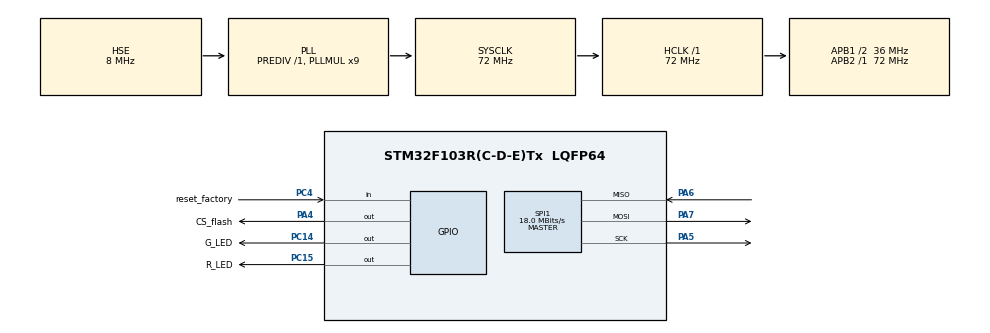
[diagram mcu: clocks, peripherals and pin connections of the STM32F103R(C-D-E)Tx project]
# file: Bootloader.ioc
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Mcu.Family=STM32F1
Mcu.Name=STM32F103R(C-D-E)Tx
Mcu.Package=LQFP64
NVIC.PriorityGroup=NVIC_PRIORITYGROUP_4
PA4.GPIO_Label=CS_flash
PA4.Signal=GPIO_Output
PA5.Mode=Full_Duplex_Master
PA5.Signal=SPI1_SCK
PA6.Mode=Full_Duplex_Master
PA6.Signal=SPI1_MISO
PA7.Mode=Full_Duplex_Master
PA7.Signal=SPI1_MOSI
PC14-OSC32_IN.GPIO_Label=G_LED
PC14-OSC32_IN.Signal=GPIO_Output
PC15-OSC32_OUT.GPIO_Label=R_LED
PC15-OSC32_OUT.Signal=GPIO_Output
PC4.GPIO_Label=reset_factory
PC4.GPIO_PuPd=GPIO_PULLUP
PC4.Signal=GPIO_Input
PD0-OSC_IN.Mode=HSE-External-Oscillator
PD0-OSC_IN.Signal=RCC_OSC_IN
PD1-OSC_OUT.Mode=HSE-External-Oscillator
PD1-OSC_OUT.Signal=RCC_OSC_OUT
ProjectManager.HeapSize=0x200
ProjectManager.StackSize=0x400
ProjectManager.TargetToolchain=STM32CubeIDE
RCC.AHBFreq_Value=72000000
RCC.APB1CLKDivider=RCC_HCLK_DIV2
RCC.APB1Freq_Value=36000000
RCC.APB1TimFreq_Value=72000000
RCC.APB2Freq_Value=72000000
RCC.APB2TimFreq_Value=72000000
RCC.HCLKFreq_Value=72000000
RCC.PLLMUL=RCC_PLL_MUL9
RCC.PLLSourceVirtual=RCC_PLLSOURCE_HSE
RCC.SYSCLKFreq_VALUE=72000000
RCC.SYSCLKSource=RCC_SYSCLKSOURCE_PLLCLK
RCC.USBFreq_Value=72000000
SPI1.BaudRatePrescaler=SPI_BAUDRATEPRESCALER_4
SPI1.CalculateBaudRate=18.0 MBits/s
SPI1.DataSize=SPI_DATASIZE_8BIT
SPI1.Direction=SPI_DIRECTION_2LINES
SPI1.Mode=SPI_MODE_MASTER
SPI1.VirtualType=VM_MASTER
board=custom

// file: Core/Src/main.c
/* USER CODE BEGIN Header */
/**
 ******************************************************************************
 * @file           : main.c
 * @brief          : Main program body
 ******************************************************************************
 * @attention
 *
 * Copyright (c) 2023 STMicroelectronics.
 * All rights reserved.
 *
 * This software is licensed under terms that can be found in the LICENSE file
 * in the root directory of this software component.
 * If no LICENSE file comes with this software, it is provided AS-IS.
 *
 ******************************************************************************
 */
/* USER CODE END Header */
#include "main.h"
#include "spi.h"
#include "gpio.h"

/* USER CODE BEGIN Includes */
#include "stm32f1xx_hal.h"
#include "stm32f1xx_hal_flash.h"
/* USER CODE END Includes */

/* USER CODE BEGIN PD */
#define READ_INS 0x03U
#define READID_INS 0x90U
#define WRITEEN_INS 0x06U
#define WRITEDS_INS 0x04U
#define WRITEPAGE_INS 0x02U

#define UPDATE_FLAG_ADDR 0xFF000U
#define UPDATE_ADDR 0x100000U
#define SETTINGS_ADDR 0x1000U
#define FLASH_ADDR 0x8003B00U

/* USER CODE END PD */

void SystemClock_Config(void);

/* USER CODE BEGIN 0 */
void set_cs_flash(void) {
	HAL_GPIO_WritePin(GPIOA, CS_flash_Pin, GPIO_PIN_RESET); //CS LOW
}

void deset_cs_flash(void) {
	HAL_GPIO_WritePin(GPIOA, CS_flash_Pin, GPIO_PIN_SET); //CS HIGH
}

void spi_r(uint8_t *data, uint16_t size) {
	HAL_SPI_Receive(&hspi1, data, size, HAL_MAX_DELAY);
}

void spi_w(uint8_t *b, uint16_t size) {
	HAL_SPI_Transmit(&hspi1, b, size, HAL_MAX_DELAY);
}
void writeEnable_eflash() {
	uint8_t frm = WRITEEN_INS;
	set_cs_flash();
	spi_w(&frm, 1);
	deset_cs_flash();
}
uint8_t check_eflash_status() {
	set_cs_flash();
	uint8_t frm = 0x05;
	spi_w(&frm, 1);
	uint8_t status = 0;
	spi_r(&status, 1);
	deset_cs_flash();
	return (status & 0x01);
}
void waitforeflash() {
	int trys = 0;
	uint8_t stats = check_eflash_status();
	while (stats != 0) {
		HAL_Delay(1);
		stats = check_eflash_status();

		if (trys > 100) {
			writeEnable_eflash();
			trys = 0;
		}
		trys++;
	}
}
void read_eflash(uint8_t *data, uint32_t *address, uint8_t ins, uint16_t size) {
	uint8_t *addr16 = ((uint8_t*) address) + 2;
	uint8_t *addr8 = ((uint8_t*) address) + 1;
	uint8_t *addr0 = ((uint8_t*) address);
	uint8_t frm[4] = { ins, *addr16, *addr8, *addr0 };
	set_cs_flash();
	spi_w((uint8_t*) &frm, 4);
	spi_r(data, size);
	deset_cs_flash();
}
void Erase_eflash() {
	waitforeflash();
	writeEnable_eflash();
	uint8_t frm = 0xc7;
	set_cs_flash();
	spi_w(&frm, 1);
	deset_cs_flash();
}
void writeDisable_eflash() {
	uint8_t frm[1] = { WRITEDS_INS };
	waitforeflash();
	set_cs_flash();
	spi_w((uint8_t*) &frm, 1);
	deset_cs_flash();
}

void write_eflash(uint8_t *data, uint32_t *address) {
	uint8_t *addr16 = ((uint8_t*) address) + 2;
	uint8_t *addr8 = ((uint8_t*) address) + 1;
	uint8_t *addr0 = ((uint8_t*) address);
	uint8_t buff[260];
	buff[0] = WRITEPAGE_INS;
	buff[1] = *addr16;
	buff[2] = *addr8;
	buff[3] = *addr0;
	for (int i = 0; i < 256; i++)
		buff[i + 4] = *(data + i);
	waitforeflash();
	writeEnable_eflash();
	set_cs_flash();
	spi_w((uint8_t*) &buff, 260);
	deset_cs_flash();
}
void Erase_eflash_sectors(uint32_t *from_address, uint32_t *to_address) {
	uint32_t address = *from_address;
	while (1) {
		uint8_t *addr16 = ((uint8_t*) &address) + 2;
		uint8_t *addr8 = ((uint8_t*) &address) + 1;
		uint8_t *addr0 = ((uint8_t*) &address);
		uint8_t frm[4] = { 0x20, *addr16, *addr8, *addr0 };
		writeEnable_eflash();
		set_cs_flash();
		spi_w((uint8_t*) &frm, 4);
		deset_cs_flash();
		waitforeflash();
		if ((*to_address <= (address + 4096)))
			break;
		address += 4096;
	}
}
uint8_t check_eflash() {
	uint8_t data[2] = { 0, 0 };
	uint32_t addr = 0x0;
	read_eflash((uint8_t*) &data, &addr, (uint8_t) READID_INS, 2);
	if (data[0] == 0xef)
		return 1;
	else
		return 0;
}
//erase address
uint32_t erase(uint32_t *addr, uint8_t np) {
	FLASH_EraseInitTypeDef eraseInit;
	eraseInit.TypeErase = FLASH_TYPEERASE_PAGES;
	eraseInit.PageAddress = *addr;
	eraseInit.NbPages = np;
	uint32_t sectorError = 0;
	HAL_FLASHEx_Erase(&eraseInit, &sectorError);
	return sectorError;
}
//flashing
void flashPage(uint32_t *addr, uint8_t *data) {
	// Write the data into the Flash memory
	for (int i = 0; i < 256; i += 2) {
		uint16_t halfword = (*(data + i + 1) << 8) | *(data + i);
		HAL_FLASH_Program(FLASH_TYPEPROGRAM_HALFWORD, *addr + i, halfword);
	}
}

uint8_t checkUpdateFlags() {
	uint8_t data = 0;
	uint32_t addr = UPDATE_FLAG_ADDR;
	uint8_t flag = READ_INS;
	read_eflash((uint8_t*) &data, &addr, flag, 1);
	return data;
}
uint8_t EraseUpdateFlags() {
	uint32_t addr = UPDATE_FLAG_ADDR;
	uint32_t toaddr = UPDATE_FLAG_ADDR + 50;
	Erase_eflash_sectors(&addr, &toaddr);
	return 0;
}
//Reset factory
void ResetFactory(){
	char f = 0;
	HAL_GPIO_WritePin(R_LED_GPIO_Port, R_LED_Pin, GPIO_PIN_RESET);
	while (HAL_GPIO_ReadPin(reset_factory_GPIO_Port, reset_factory_Pin)) {
		HAL_GPIO_WritePin(G_LED_GPIO_Port, G_LED_Pin, GPIO_PIN_RESET);
			HAL_Delay(200);
		HAL_GPIO_WritePin(G_LED_GPIO_Port, G_LED_Pin, GPIO_PIN_SET);
			HAL_Delay(200);
			f++;
			if(f >= 25){
				uint32_t addr = SETTINGS_ADDR;
				uint32_t toaddr = SETTINGS_ADDR + 3000;
				Erase_eflash_sectors(&addr, &toaddr);
				for(int i =0; i<25;i++){
				HAL_GPIO_WritePin(G_LED_GPIO_Port, G_LED_Pin, GPIO_PIN_SET);
				HAL_Delay(20);
				HAL_GPIO_WritePin(G_LED_GPIO_Port, G_LED_Pin, GPIO_PIN_RESET);
				HAL_Delay(50);
				}
				break;

			}
		}
	HAL_GPIO_WritePin(G_LED_GPIO_Port, G_LED_Pin, GPIO_PIN_RESET);
	HAL_GPIO_WritePin(R_LED_GPIO_Port, R_LED_Pin, GPIO_PIN_RESET);
}
// The update process
uint8_t Update() {
	// Unlocking process of the microcontroller's flash
	__HAL_FLASH_CLEAR_FLAG(
			FLASH_FLAG_EOP | FLASH_FLAG_PGERR | FLASH_FLAG_WRPERR); // Clear any pending flags
	HAL_FLASH_Unlock(); // Unlock the flash
	waitforeflash();
	uint32_t saddr = 0x8003B00;
	// Erase the flash
	erase(&saddr, 118);
	uint32_t addrt = UPDATE_ADDR;
	uint32_t addrf = FLASH_ADDR;
	uint32_t offset = 0;
	uint8_t data[256];
	while (1) {
		for (int i = 0; i < 256; i++) {
			// Reading 256 bytes from external flash
			read_eflash(((uint8_t*) &data) + i, &addrt, (uint8_t) READ_INS, 1);
			addrt++;
		}
		HAL_GPIO_WritePin(R_LED_GPIO_Port, R_LED_Pin, GPIO_PIN_RESET); //LED HIGH
		// Write the 256 bytes into the embedded flash
		flashPage(&addrf, data);
		HAL_GPIO_WritePin(R_LED_GPIO_Port, R_LED_Pin, GPIO_PIN_SET); //LED HIGH
		offset += 256;
		addrf += 256;
		if (offset >= 242000)
			break;
	}
	// Lock the flash
	HAL_FLASH_Lock();
	// Undo the update flag
	EraseUpdateFlags();
	return 0;
}
// Jump to ROM
typedef void (*pFunction)(void);
void JumpToAddress(uint32_t addr) {
	uint32_t JumpAddress = *(uint32_t*) (addr + 4);
	pFunction Jump = (pFunction) JumpAddress;
	HAL_SPI_DeInit(&hspi1);
	HAL_RCC_DeInit();
	HAL_DeInit();

    // Stop refreshing the watchdog (prevent reset)
	SysTick->CTRL = 0;
	SysTick->LOAD = 0;
	SysTick->VAL = 0;

	SCB->VTOR = addr;
	__set_MSP(*(uint32_t*) addr);
	Jump();
}
// Boot Process
void Boot() {
	// Check for Update
	if (checkUpdateFlags() == 0x45) {
		Update();
	}
	// Jump to ROM
	ResetFactory();
	JumpToAddress(FLASH_ADDR);
}

/* USER CODE END 0 */

int main(void)
{

  /* MCU Configuration--------------------------------------------------------*/

  /* Reset of all peripherals, Initializes the Flash interface and the Systick. */
  HAL_Init();

  /* USER CODE BEGIN Init */
	HAL_GPIO_WritePin(R_LED_GPIO_Port, R_LED_Pin, GPIO_PIN_SET); //LED HIGH
  /* USER CODE END Init */

  /* Configure the system clock */
  SystemClock_Config();

  /* Initialize all configured peripherals */
  MX_GPIO_Init();
  MX_SPI1_Init();

  /* Infinite loop */
  /* USER CODE BEGIN WHILE */
	// Delay for external flash boot time
	HAL_Delay(50);
	// Start boot-loader process
	Boot();
	while (1) {
    /* USER CODE END WHILE */

	}
}

void SystemClock_Config(void)
{
  RCC_OscInitTypeDef RCC_OscInitStruct = {0};
  RCC_ClkInitTypeDef RCC_ClkInitStruct = {0};

  /** Initializes the RCC Oscillators according to the specified parameters
  * in the RCC_OscInitTypeDef structure.
  */
  RCC_OscInitStruct.OscillatorType = RCC_OSCILLATORTYPE_HSE;
  RCC_OscInitStruct.HSEState = RCC_HSE_ON;
  RCC_OscInitStruct.HSEPredivValue = RCC_HSE_PREDIV_DIV1;
  RCC_OscInitStruct.HSIState = RCC_HSI_ON;
  RCC_OscInitStruct.PLL.PLLState = RCC_PLL_ON;
  RCC_OscInitStruct.PLL.PLLSource = RCC_PLLSOURCE_HSE;
  RCC_OscInitStruct.PLL.PLLMUL = RCC_PLL_MUL9;
  if (HAL_RCC_OscConfig(&RCC_OscInitStruct) != HAL_OK)
  {
    Error_Handler();
  }

  /** Initializes the CPU, AHB and APB buses clocks
  */
  RCC_ClkInitStruct.ClockType = RCC_CLOCKTYPE_HCLK|RCC_CLOCKTYPE_SYSCLK
                              |RCC_CLOCKTYPE_PCLK1|RCC_CLOCKTYPE_PCLK2;
  RCC_ClkInitStruct.SYSCLKSource = RCC_SYSCLKSOURCE_PLLCLK;
  RCC_ClkInitStruct.AHBCLKDivider = RCC_SYSCLK_DIV1;
  RCC_ClkInitStruct.APB1CLKDivider = RCC_HCLK_DIV2;
  RCC_ClkInitStruct.APB2CLKDivider = RCC_HCLK_DIV1;

  if (HAL_RCC_ClockConfig(&RCC_ClkInitStruct, FLASH_LATENCY_2) != HAL_OK)
  {
    Error_Handler();
  }
}

void Error_Handler(void)
{
	__disable_irq();
	while (1) {
	}
}
